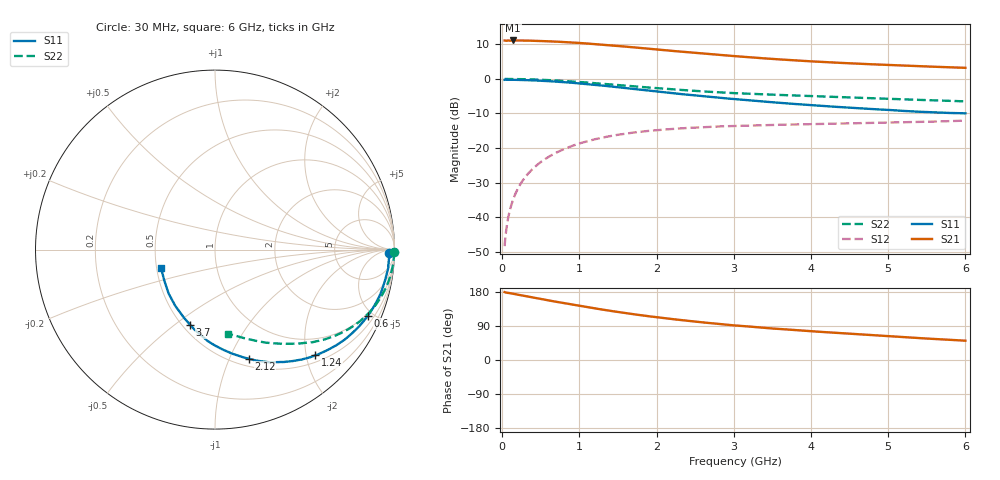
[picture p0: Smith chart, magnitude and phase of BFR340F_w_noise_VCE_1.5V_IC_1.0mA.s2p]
! Infineon Technologies  Discrete & RF Semiconductors
! BFR340F
! VCE =  1.5 V,  IC =  1.0 mA
! Common Emitter S-Parameters:  Nov 2015
# GHz  S  MA  R  50
!  f  S11  S21  S12  S22
! GHz  MAG  ANG  MAG  ANG  MAG  ANG  MAG  ANG
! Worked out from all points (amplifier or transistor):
!   206 points, 30 MHz to 6 GHz, reference 50 ohm
!   highest |S21| = 11.1 dB at 140 MHz (marker M1)
!   |S21| within 3 dB of that: start of sweep to 2.194 GHz
!   unconditionally stable (mu >= 1): 5.651 GHz to end of sweep
!   at 200 MHz: K = 0.04, MSG = 21.5 dB, |S12| = -31.8 dB
!   at 1.56 GHz: K = 0.36, MSG = 12.7 dB, |S12| = -16.0 dB
!   at 6 GHz: K = 1.02, MAG = 6.8 dB, |S12| = -12.1 dB
!   lowest NFmin = 0.59 dB at 100 MHz
!   S11 on the Smith chart (normalised r, x): 30 MHz: 44, -30; 600 MHz: 0.87, -4.65; 1.24 GHz: 0.63, -2.18; 2.12 GHz: 0.58, -1.18; 3.7 GHz: 0.55, -0.57; 6 GHz: 0.53, -0.12
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0.03  0.9695 -1.2  3.592 179.2  0.0038 88.8  0.9978 -0.8
0.045  0.9718 -1.8  3.569 178.1  0.0058 87.5  0.9976 -1.3
0.07  0.9702 -3.0  3.593 177.1  0.009 87.8  0.9978 -1.9
0.1  0.9696 -4.0  3.567 176.2  0.0129 87.9  0.9972 -2.8
0.14  0.9693 -5.5  3.597 174.8  0.018 86.3  0.9961 -3.9
0.22  0.9651 -8.8  3.593 171.7  0.0282 84.2  0.9928 -6.1
0.32  0.9587 -12.7  3.578 167.9  0.0408 81.6  0.987 -8.9
0.44  0.9476 -17.3  3.547 163.4  0.0556 78.5  0.9776 -12.1
0.6  0.9281 -23.5  3.497 157.3  0.0745 74.5  0.9604 -16.3
0.78  0.9 -30.2  3.417 150.6  0.0943 70.1  0.9361 -20.9
1.04  0.8523 -39.6  3.283 141.6  0.1199 64.2  0.8949 -27.1
1.24  0.812 -46.5  3.161 134.8  0.137 60.0  0.8601 -31.4
1.6  0.7357 -58.3  2.928 123.6  0.1616 53.5  0.7968 -38.5
2.02  0.6553 -70.2  2.653 112.3  0.1819 47.7  0.7319 -45.1
2.12  0.6365 -72.8  2.59 110.0  0.1856 46.5  0.7177 -46.5
2.58  0.5634 -84.7  2.336 99.6  0.1999 42.1  0.6611 -52.5
3.1  0.4997 -96.3  2.096 89.9  0.2099 38.8  0.6159 -57.9
3.5  0.4591 -104.6  1.943 83.1  0.2156 37.2  0.5907 -61.4
3.7  0.441 -108.3  1.88 80.4  0.218 36.8  0.5804 -62.7
4.1  0.4097 -116.4  1.769 74.6  0.2229 36.3  0.56 -65.4
5.1  0.3496 -138.9  1.574 61.5  0.2347 36.3  0.5102 -73.5
6  0.3176 -160.7  1.445 51.0  0.2488 38.2  0.4729 -81.3
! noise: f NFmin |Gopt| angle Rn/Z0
0.1  0.59  0.88  1  0.59
0.45  0.63  0.86  4  0.63
0.9  0.69  0.79  13  0.66
1.9  1.1  0.64  26  0.57
2.4  1.18  0.61  34  0.54
